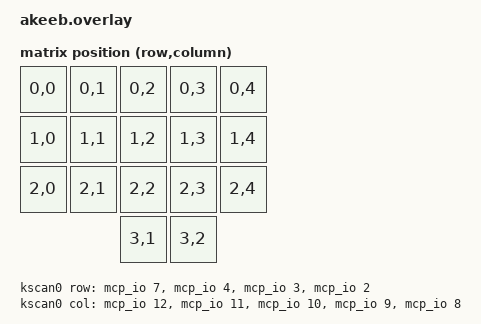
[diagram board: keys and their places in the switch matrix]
/*
 * Copyright (c) 2020 The ZMK Contributors
 *
 * SPDX-License-Identifier: MIT
 */

#include <dt-bindings/zmk/matrix_transform.h>

/ {
    chosen {
        zmk,kscan = &kscan0;
        zmk,matrix-transform = &default_transform;
    };

    default_transform: keymap_transform_0 {
        compatible = "zmk,matrix-transform";
        columns = <5>;
        rows = <4>;
        map = <
        RC(0,0) RC(0,1) RC(0,2) RC(0,3) RC(0,4)
        RC(1,0) RC(1,1) RC(1,2) RC(1,3) RC(1,4)
        RC(2,0) RC(2,1) RC(2,2) RC(2,3) RC(2,4)
                        RC(3,1) RC(3,2)
        >;
    };

    kscan0: kscan {
        compatible = "zmk,kscan-gpio-matrix";
        diode-direction = "row2col";
        wakeup-source;

        col-gpios
            = <&mcp_io 12 (GPIO_ACTIVE_LOW | GPIO_PULL_UP)>
            , <&mcp_io 11 (GPIO_ACTIVE_LOW | GPIO_PULL_UP)>
            , <&mcp_io 10 (GPIO_ACTIVE_LOW | GPIO_PULL_UP)>
            , <&mcp_io 9 (GPIO_ACTIVE_LOW | GPIO_PULL_UP)>
            , <&mcp_io 8 (GPIO_ACTIVE_LOW | GPIO_PULL_UP)>
            ;

        row-gpios
            = <&mcp_io 7 GPIO_ACTIVE_LOW>
            , <&mcp_io 4 GPIO_ACTIVE_LOW>
            , <&mcp_io 3 GPIO_ACTIVE_LOW>
            , <&mcp_io 2 GPIO_ACTIVE_LOW>
            ;
    };
};

&pro_micro_i2c {
    status = "okay";
    clock-frequency = <I2C_BITRATE_FAST>;

    mcp_io: mcp23017@20 {
        compatible = "microchip,mcp230xx";
        status = "okay";
        gpio-controller;
        reg = <0x20>;
        #gpio-cells = <2>;
        ngpios = <16>;
    };
};
